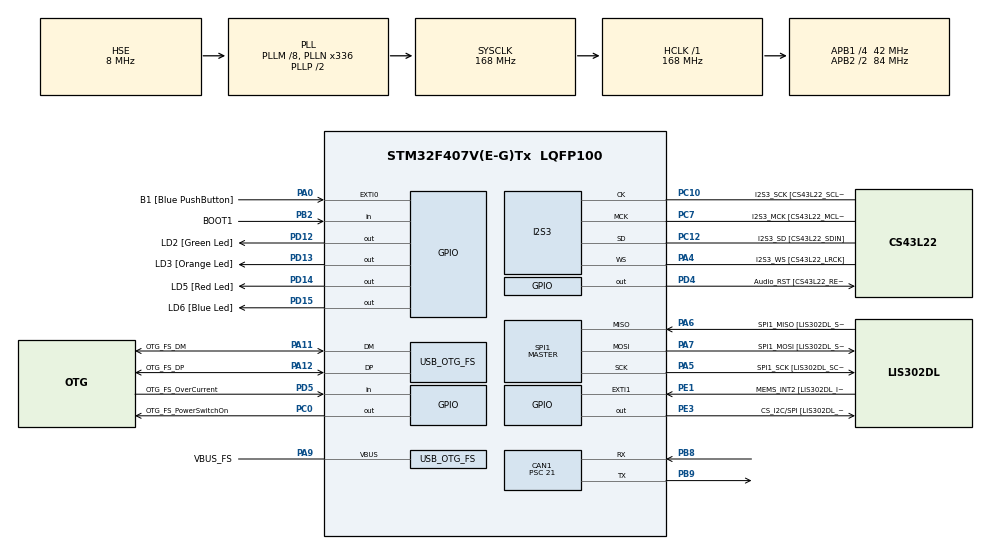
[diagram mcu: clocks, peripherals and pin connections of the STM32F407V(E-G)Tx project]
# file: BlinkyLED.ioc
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CAN1.BS1=CAN_BS1_12TQ
CAN1.BS2=CAN_BS2_3TQ
CAN1.CalculateBaudRate=125000
CAN1.CalculateTimeBit=8000
CAN1.CalculateTimeQuantum=500.0
CAN1.Prescaler=21
I2S3.AudioFreq-Half_Duplex_Master=I2S_AUDIOFREQ_96K
I2S3.ErrorAudioFreq=-2.34 %
I2S3.ErrorAudioFreq-Half_Duplex_Master=0.8 %
I2S3.FullDuplexMode=I2S_FULLDUPLEXMODE_DISABLE
I2S3.Instance=SPI$Index
I2S3.RealAudioFreq=93.75 KHz
I2S3.RealAudioFreq-Half_Duplex_Master=96.774 KHz
I2S3.VirtualMode=I2S_MODE_MASTER
Mcu.Family=STM32F4
Mcu.Name=STM32F407V(E-G)Tx
Mcu.Package=LQFP100
NVIC.OTG_FS_IRQn=true\:0\:0\:false\:false\:true\:true\:true\:true
NVIC.PriorityGroup=NVIC_PRIORITYGROUP_0
PA0-WKUP.GPIO_Label=B1 [Blue PushButton]
PA0-WKUP.GPIO_ModeDefaultEXTI=GPIO_MODE_EVT_RISING
PA0-WKUP.GPIO_PuPd=GPIO_NOPULL
PA0-WKUP.Signal=GPXTI0
PA10.GPIO_Label=OTG_FS_ID
PA10.GPIO_Mode=GPIO_MODE_AF_PP
PA10.GPIO_PuPd=GPIO_NOPULL
PA10.GPIO_Speed=GPIO_SPEED_FREQ_LOW
PA10.Signal=USB_OTG_FS_ID
PA11.GPIO_Label=OTG_FS_DM
PA11.GPIO_Mode=GPIO_MODE_AF_PP
PA11.GPIO_PuPd=GPIO_NOPULL
PA11.GPIO_Speed=GPIO_SPEED_FREQ_LOW
PA11.Mode=Host_Only
PA11.Signal=USB_OTG_FS_DM
PA12.GPIO_Label=OTG_FS_DP
PA12.GPIO_Mode=GPIO_MODE_AF_PP
PA12.GPIO_PuPd=GPIO_NOPULL
PA12.GPIO_Speed=GPIO_SPEED_FREQ_LOW
PA12.Mode=Host_Only
PA12.Signal=USB_OTG_FS_DP
PA13.GPIO_Label=SWDIO
PA13.Mode=Serial_Wire
PA13.Signal=SYS_JTMS-SWDIO
PA14.GPIO_Label=SWCLK
PA14.Mode=Serial_Wire
PA14.Signal=SYS_JTCK-SWCLK
PA4.GPIO_Label=I2S3_WS [CS43L22_LRCK]
PA4.GPIO_Mode=GPIO_MODE_AF_PP
PA4.GPIO_PuPd=GPIO_NOPULL
PA4.GPIO_Speed=GPIO_SPEED_FREQ_LOW
PA4.Mode=Half_Duplex_Master
PA4.Signal=I2S3_WS
PA5.GPIO_Label=SPI1_SCK [LIS302DL_SCL/SPC]
PA5.GPIO_Mode=GPIO_MODE_AF_PP
PA5.GPIO_PuPd=GPIO_NOPULL
PA5.GPIO_Speed=GPIO_SPEED_FREQ_LOW
PA5.Mode=Full_Duplex_Master
PA5.Signal=SPI1_SCK
PA6.GPIO_Label=SPI1_MISO [LIS302DL_SDO]
PA6.GPIO_Mode=GPIO_MODE_AF_PP
PA6.GPIO_PuPd=GPIO_NOPULL
PA6.GPIO_Speed=GPIO_SPEED_FREQ_LOW
PA6.Mode=Full_Duplex_Master
PA6.Signal=SPI1_MISO
PA7.GPIO_Label=SPI1_MOSI [LIS302DL_SDA/SDI/SDO]
PA7.GPIO_Mode=GPIO_MODE_AF_PP
PA7.GPIO_PuPd=GPIO_NOPULL
PA7.GPIO_Speed=GPIO_SPEED_FREQ_LOW
PA7.Mode=Full_Duplex_Master
PA7.Signal=SPI1_MOSI
PA9.GPIO_Label=VBUS_FS
PA9.GPIO_Mode=GPIO_MODE_INPUT
PA9.GPIO_PuPd=GPIO_NOPULL
PA9.Mode=Activate_VBUS
PA9.Signal=USB_OTG_FS_VBUS
PB10.GPIO_Label=CLK_IN [MP45DT02_CLK]
PB10.GPIO_Mode=GPIO_MODE_AF_PP
PB10.GPIO_PuPd=GPIO_NOPULL
PB10.GPIO_Speed=GPIO_SPEED_FREQ_LOW
PB10.Signal=I2S2_CK
PB2.GPIO_Label=BOOT1
PB2.GPIO_Mode=GPIO_MODE_INPUT
PB2.GPIO_PuPd=GPIO_NOPULL
PB2.Signal=GPIO_Input
PB3.GPIO_Label=SWO
PB3.Signal=SYS_JTDO-SWO
PB6.GPIO_Label=Audio_SCL [CS43L22_SCL]
PB6.GPIO_Mode=GPIO_MODE_AF_OD
PB6.GPIO_Pu=GPIO_PULLUP
PB6.GPIO_PuPd=GPIO_NOPULL
PB6.GPIO_Speed=GPIO_SPEED_FREQ_LOW
PB6.Signal=I2C1_SCL
PB8.Mode=CAN_Activate
PB8.Signal=CAN1_RX
PB9.Mode=CAN_Activate
PB9.Signal=CAN1_TX
PC0.GPIO_Label=OTG_FS_PowerSwitchOn
PC0.GPIO_PuPd=GPIO_NOPULL
PC0.GPIO_Speed=GPIO_SPEED_FREQ_LOW
PC0.PinState=GPIO_PIN_SET
PC0.Signal=GPIO_Output
PC10.GPIO_Label=I2S3_SCK [CS43L22_SCLK]
PC10.GPIO_Mode=GPIO_MODE_AF_PP
PC10.GPIO_PuPd=GPIO_NOPULL
PC10.GPIO_Speed=GPIO_SPEED_FREQ_LOW
PC10.Mode=Half_Duplex_Master
PC10.Signal=I2S3_CK
PC12.GPIO_Label=I2S3_SD [CS43L22_SDIN]
PC12.GPIO_Mode=GPIO_MODE_AF_PP
PC12.GPIO_PuPd=GPIO_NOPULL
PC12.GPIO_Speed=GPIO_SPEED_FREQ_LOW
PC12.Mode=Half_Duplex_Master
PC12.Signal=I2S3_SD
PC14-OSC32_IN.GPIO_Label=PC14-OSC32_IN
PC14-OSC32_IN.Mode=LSE-External-Oscillator
PC14-OSC32_IN.Signal=RCC_OSC32_IN
PC15-OSC32_OUT.GPIO_Label=PC15-OSC32_OUT
PC15-OSC32_OUT.Mode=LSE-External-Oscillator
PC15-OSC32_OUT.Signal=RCC_OSC32_OUT
PC3.GPIO_Label=PDM_OUT [MP45DT02_DOUT]
PC3.GPIO_Mode=GPIO_MODE_AF_PP
PC3.GPIO_PuPd=GPIO_NOPULL
PC3.GPIO_Speed=GPIO_SPEED_FREQ_LOW
PC3.Signal=I2S2_SD
PC7.GPIO_Label=I2S3_MCK [CS43L22_MCLK]
PC7.GPIO_Mode=GPIO_MODE_AF_PP
PC7.GPIO_PuPd=GPIO_NOPULL
PC7.GPIO_Speed=GPIO_SPEED_FREQ_LOW
PC7.Mode=Master_Clock_Activated
PC7.Signal=I2S3_MCK
PD12.GPIO_Label=LD2 [Green Led]
PD12.Signal=GPIO_Output
PD13.GPIO_Label=LD3 [Orange Led]
PD13.GPIO_PuPd=GPIO_NOPULL
PD13.GPIO_Speed=GPIO_SPEED_FREQ_LOW
PD13.Signal=GPIO_Output
PD14.GPIO_Label=LD5 [Red Led]
PD14.GPIO_PuPd=GPIO_NOPULL
PD14.GPIO_Speed=GPIO_SPEED_FREQ_LOW
PD14.Signal=GPIO_Output
PD15.GPIO_Label=LD6 [Blue Led]
PD15.GPIO_PuPd=GPIO_NOPULL
PD15.GPIO_Speed=GPIO_SPEED_FREQ_LOW
PD15.Signal=GPIO_Output
PD4.GPIO_Label=Audio_RST [CS43L22_RESET]
PD4.GPIO_PuPd=GPIO_NOPULL
PD4.GPIO_Speed=GPIO_SPEED_FREQ_LOW
PD4.Signal=GPIO_Output
PD5.GPIO_Label=OTG_FS_OverCurrent
PD5.GPIO_Mode=GPIO_MODE_INPUT
PD5.GPIO_PuPd=GPIO_NOPULL
PD5.Signal=GPIO_Input
PE1.GPIO_Label=MEMS_INT2 [LIS302DL_INT2]
PE1.GPIO_ModeDefaultEXTI=GPIO_MODE_EVT_RISING
PE1.GPIO_PuPd=GPIO_NOPULL
PE1.Signal=GPXTI1
PE3.GPIO_Label=CS_I2C/SPI [LIS302DL_CS_I2C/SPI]
PE3.GPIO_PuPd=GPIO_NOPULL
PE3.GPIO_Speed=GPIO_SPEED_FREQ_LOW
PE3.Signal=GPIO_Output
PH0-OSC_IN.GPIO_Label=PH0-OSC_IN
PH0-OSC_IN.Mode=HSE-External-Oscillator
PH0-OSC_IN.Signal=RCC_OSC_IN
PH1-OSC_OUT.GPIO_Label=PH1-OSC_OUT
PH1-OSC_OUT.Mode=HSE-External-Oscillator
PH1-OSC_OUT.Signal=RCC_OSC_OUT
ProjectManager.HeapSize=0x200
ProjectManager.StackSize=0x400
ProjectManager.TargetToolchain=STM32CubeIDE
RCC.48MHZClocksFreq_Value=48000000
RCC.AHBFreq_Value=168000000
RCC.APB1CLKDivider=RCC_HCLK_DIV4
RCC.APB1Freq_Value=42000000
RCC.APB1TimFreq_Value=84000000
RCC.APB2CLKDivider=RCC_HCLK_DIV2
RCC.APB2Freq_Value=84000000
RCC.APB2TimFreq_Value=168000000
RCC.CortexFreq_Value=168000000
RCC.HCLKFreq_Value=168000000
RCC.HSE_VALUE=8000000
RCC.HSI_VALUE=16000000
RCC.PLLM=8
RCC.PLLN=336
RCC.PLLQ=7
RCC.SYSCLKFreq_VALUE=168000000
RCC.SYSCLKSource=RCC_SYSCLKSOURCE_PLLCLK
RCC.VCOOutputFreq_Value=336000000
SPI1.BaudRatePrescaler-Full_Duplex_Master=SPI_BAUDRATEPRESCALER_2
SPI1.CalculateBaudRate-Full_Duplex_Master=42.0 MBits/s
SPI1.Direction=SPI_DIRECTION_2LINES
SPI1.Mode=SPI_MODE_MASTER
SPI1.Mode-Full_Duplex_Master=SPI_MODE_MASTER
SPI1.VirtualType=VM_MASTER
USB_HOST.BSP.number=1
USB_HOST.USBH_HandleTypeDef-CDC_FS=hUsbHostFS
USB_HOST.VirtualModeFS=Cdc
USB_HOST0.BSP.STBoard=false
USB_HOST0.BSP.api=Unknown
USB_HOST0.BSP.instance=PC0
USB_HOST0.BSP.ip=GPIO
USB_HOST0.BSP.mode=Output
USB_HOST0.BSP.name=Drive_VBUS_FS
USB_HOST0.BSP.solution=PC0
USB_OTG_FS.VirtualMode=Host_Only
USB_OTG_FS.phy_itface=HCD_PHY_EMBEDDED
VP_USB_HOST_VS_USB_HOST_CDC_FS.Mode=CDC_FS
board=STM32F407G-DISC1

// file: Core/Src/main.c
/* USER CODE BEGIN Header */
/**
  ******************************************************************************
  * @file           : main.c
  * @brief          : Main program body
  ******************************************************************************
  * @attention
  *
  * Copyright (c) 2025 STMicroelectronics.
  * All rights reserved.
  *
  * This software is licensed under terms that can be found in the LICENSE file
  * in the root directory of this software component.
  * If no LICENSE file comes with this software, it is provided AS-IS.
  *
  ******************************************************************************
  */
/* USER CODE END Header */
#include "main.h"
#include "usb_host.h"

CAN_HandleTypeDef hcan1;

I2S_HandleTypeDef hi2s3;

SPI_HandleTypeDef hspi1;

/* USER CODE BEGIN PV */
CAN_TxHeaderTypeDef   TxHeader;
uint8_t               TxData[2];
uint32_t              TxMailbox;
/* USER CODE END PV */

void SystemClock_Config(void);
static void MX_GPIO_Init(void);
static void MX_I2S3_Init(void);
static void MX_SPI1_Init(void);
static void MX_CAN1_Init(void);
void MX_USB_HOST_Process(void);

int main(void)
{

  /* MCU Configuration--------------------------------------------------------*/

  /* Reset of all peripherals, Initializes the Flash interface and the Systick. */
  HAL_Init();

  /* Configure the system clock */
  SystemClock_Config();

  /* Initialize all configured peripherals */
  MX_GPIO_Init();
  MX_I2S3_Init();
  MX_SPI1_Init();
  MX_USB_HOST_Init();
  MX_CAN1_Init();
  /* USER CODE BEGIN 2 */
  // Konfigurasi Header Pesan CAN
  TxHeader.StdId = 0x401; // ID Pesan CAN (pilih angka apa saja)
  TxHeader.ExtId = 0;
  TxHeader.RTR = CAN_RTR_DATA;
  TxHeader.IDE = CAN_ID_STD;
  TxHeader.DLC = 2; // Jumlah data yang dikirim (dalam byte)
  TxHeader.TransmitGlobalTime = DISABLE;

  // Data yang akan dikirim
  TxData[0] = 0xCA;
  TxData[1] = 0xFE;

  // Mulai periferal CAN
  if (HAL_CAN_Start(&hcan1) != HAL_OK)
  {
    /* Start Error */
    Error_Handler();
  }
  /* USER CODE END 2 */

  /* Infinite loop */
  while (1)
  {
    MX_USB_HOST_Process();

    /* USER CODE BEGIN 3 */
    // Periksa apakah tombol biru (B1, terhubung ke PA0) sedang ditekan
    if (HAL_GPIO_ReadPin(GPIOA, GPIO_PIN_0) == GPIO_PIN_RESET) // Tombol ditekan = pin LOW (RESET)
    {
      // Kirim pesan CAN
      if (HAL_CAN_AddTxMessage(&hcan1, &TxHeader, TxData, &TxMailbox) == HAL_OK)
      {
        // Jika berhasil, kedipkan LED oranye sebagai feedback
        HAL_GPIO_TogglePin(GPIOD, GPIO_PIN_13); // LD3 Orange LED
      }

      // Tahan di sini selama tombol masih ditekan untuk mencegah spam
      while (HAL_GPIO_ReadPin(GPIOA, GPIO_PIN_0) == GPIO_PIN_RESET) {}
    }
  }
  /* USER CODE END 3 */
}

void SystemClock_Config(void)
{
  RCC_OscInitTypeDef RCC_OscInitStruct = {0};
  RCC_ClkInitTypeDef RCC_ClkInitStruct = {0};

  /** Configure the main internal regulator output voltage
  */
  __HAL_RCC_PWR_CLK_ENABLE();
  __HAL_PWR_VOLTAGESCALING_CONFIG(PWR_REGULATOR_VOLTAGE_SCALE1);

  /** Initializes the RCC Oscillators according to the specified parameters
  * in the RCC_OscInitTypeDef structure.
  */
  RCC_OscInitStruct.OscillatorType = RCC_OSCILLATORTYPE_HSE;
  RCC_OscInitStruct.HSEState = RCC_HSE_ON;
  RCC_OscInitStruct.PLL.PLLState = RCC_PLL_ON;
  RCC_OscInitStruct.PLL.PLLSource = RCC_PLLSOURCE_HSE;
  RCC_OscInitStruct.PLL.PLLM = 8;
  RCC_OscInitStruct.PLL.PLLN = 336;
  RCC_OscInitStruct.PLL.PLLP = RCC_PLLP_DIV2;
  RCC_OscInitStruct.PLL.PLLQ = 7;
  if (HAL_RCC_OscConfig(&RCC_OscInitStruct) != HAL_OK)
  {
    Error_Handler();
  }

  /** Initializes the CPU, AHB and APB buses clocks
  */
  RCC_ClkInitStruct.ClockType = RCC_CLOCKTYPE_HCLK|RCC_CLOCKTYPE_SYSCLK
                              |RCC_CLOCKTYPE_PCLK1|RCC_CLOCKTYPE_PCLK2;
  RCC_ClkInitStruct.SYSCLKSource = RCC_SYSCLKSOURCE_PLLCLK;
  RCC_ClkInitStruct.AHBCLKDivider = RCC_SYSCLK_DIV1;
  RCC_ClkInitStruct.APB1CLKDivider = RCC_HCLK_DIV4;
  RCC_ClkInitStruct.APB2CLKDivider = RCC_HCLK_DIV2;

  if (HAL_RCC_ClockConfig(&RCC_ClkInitStruct, FLASH_LATENCY_5) != HAL_OK)
  {
    Error_Handler();
  }
}

static void MX_CAN1_Init(void)
{

  hcan1.Instance = CAN1;
  hcan1.Init.Prescaler = 21;
  hcan1.Init.Mode = CAN_MODE_NORMAL;
  hcan1.Init.SyncJumpWidth = CAN_SJW_1TQ;
  hcan1.Init.TimeSeg1 = CAN_BS1_12TQ;
  hcan1.Init.TimeSeg2 = CAN_BS2_3TQ;
  hcan1.Init.TimeTriggeredMode = DISABLE;
  hcan1.Init.AutoBusOff = DISABLE;
  hcan1.Init.AutoWakeUp = DISABLE;
  hcan1.Init.AutoRetransmission = DISABLE;
  hcan1.Init.ReceiveFifoLocked = DISABLE;
  hcan1.Init.TransmitFifoPriority = DISABLE;
  if (HAL_CAN_Init(&hcan1) != HAL_OK)
  {
    Error_Handler();
  }

}

static void MX_I2S3_Init(void)
{

  hi2s3.Instance = SPI3;
  hi2s3.Init.Mode = I2S_MODE_MASTER_TX;
  hi2s3.Init.Standard = I2S_STANDARD_PHILIPS;
  hi2s3.Init.DataFormat = I2S_DATAFORMAT_16B;
  hi2s3.Init.MCLKOutput = I2S_MCLKOUTPUT_ENABLE;
  hi2s3.Init.AudioFreq = I2S_AUDIOFREQ_96K;
  hi2s3.Init.CPOL = I2S_CPOL_LOW;
  hi2s3.Init.ClockSource = I2S_CLOCK_PLL;
  hi2s3.Init.FullDuplexMode = I2S_FULLDUPLEXMODE_DISABLE;
  if (HAL_I2S_Init(&hi2s3) != HAL_OK)
  {
    Error_Handler();
  }

}

static void MX_SPI1_Init(void)
{

  /* SPI1 parameter configuration*/
  hspi1.Instance = SPI1;
  hspi1.Init.Mode = SPI_MODE_MASTER;
  hspi1.Init.Direction = SPI_DIRECTION_2LINES;
  hspi1.Init.DataSize = SPI_DATASIZE_8BIT;
  hspi1.Init.CLKPolarity = SPI_POLARITY_LOW;
  hspi1.Init.CLKPhase = SPI_PHASE_1EDGE;
  hspi1.Init.NSS = SPI_NSS_SOFT;
  hspi1.Init.BaudRatePrescaler = SPI_BAUDRATEPRESCALER_2;
  hspi1.Init.FirstBit = SPI_FIRSTBIT_MSB;
  hspi1.Init.TIMode = SPI_TIMODE_DISABLE;
  hspi1.Init.CRCCalculation = SPI_CRCCALCULATION_DISABLE;
  hspi1.Init.CRCPolynomial = 10;
  if (HAL_SPI_Init(&hspi1) != HAL_OK)
  {
    Error_Handler();
  }

}

static void MX_GPIO_Init(void)
{
  GPIO_InitTypeDef GPIO_InitStruct = {0};

  /* GPIO Ports Clock Enable */
  __HAL_RCC_GPIOE_CLK_ENABLE();
  __HAL_RCC_GPIOC_CLK_ENABLE();
  __HAL_RCC_GPIOH_CLK_ENABLE();
  __HAL_RCC_GPIOA_CLK_ENABLE();
  __HAL_RCC_GPIOB_CLK_ENABLE();
  __HAL_RCC_GPIOD_CLK_ENABLE();

  /*Configure GPIO pin Output Level */
  HAL_GPIO_WritePin(CS_I2C_SPI_GPIO_Port, CS_I2C_SPI_Pin, GPIO_PIN_RESET);

  /*Configure GPIO pin Output Level */
  HAL_GPIO_WritePin(OTG_FS_PowerSwitchOn_GPIO_Port, OTG_FS_PowerSwitchOn_Pin, GPIO_PIN_SET);

  /*Configure GPIO pin Output Level */
  HAL_GPIO_WritePin(GPIOD, LD2_Pin|LD3_Pin|LD5_Pin|LD6_Pin
                          |Audio_RST_Pin, GPIO_PIN_RESET);

  /*Configure GPIO pin : CS_I2C_SPI_Pin */
  GPIO_InitStruct.Pin = CS_I2C_SPI_Pin;
  GPIO_InitStruct.Mode = GPIO_MODE_OUTPUT_PP;
  GPIO_InitStruct.Pull = GPIO_NOPULL;
  GPIO_InitStruct.Speed = GPIO_SPEED_FREQ_LOW;
  HAL_GPIO_Init(CS_I2C_SPI_GPIO_Port, &GPIO_InitStruct);

  /*Configure GPIO pin : OTG_FS_PowerSwitchOn_Pin */
  GPIO_InitStruct.Pin = OTG_FS_PowerSwitchOn_Pin;
  GPIO_InitStruct.Mode = GPIO_MODE_OUTPUT_PP;
  GPIO_InitStruct.Pull = GPIO_NOPULL;
  GPIO_InitStruct.Speed = GPIO_SPEED_FREQ_LOW;
  HAL_GPIO_Init(OTG_FS_PowerSwitchOn_GPIO_Port, &GPIO_InitStruct);

  /*Configure GPIO pin : PDM_OUT_Pin */
  GPIO_InitStruct.Pin = PDM_OUT_Pin;
  GPIO_InitStruct.Mode = GPIO_MODE_AF_PP;
  GPIO_InitStruct.Pull = GPIO_NOPULL;
  GPIO_InitStruct.Speed = GPIO_SPEED_FREQ_LOW;
  GPIO_InitStruct.Alternate = GPIO_AF5_SPI2;
  HAL_GPIO_Init(PDM_OUT_GPIO_Port, &GPIO_InitStruct);

  /*Configure GPIO pin : B1_Pin */
  GPIO_InitStruct.Pin = B1_Pin;
  GPIO_InitStruct.Mode = GPIO_MODE_EVT_RISING;
  GPIO_InitStruct.Pull = GPIO_NOPULL;
  HAL_GPIO_Init(B1_GPIO_Port, &GPIO_InitStruct);

  /*Configure GPIO pin : BOOT1_Pin */
  GPIO_InitStruct.Pin = BOOT1_Pin;
  GPIO_InitStruct.Mode = GPIO_MODE_INPUT;
  GPIO_InitStruct.Pull = GPIO_NOPULL;
  HAL_GPIO_Init(BOOT1_GPIO_Port, &GPIO_InitStruct);

  /*Configure GPIO pin : CLK_IN_Pin */
  GPIO_InitStruct.Pin = CLK_IN_Pin;
  GPIO_InitStruct.Mode = GPIO_MODE_AF_PP;
  GPIO_InitStruct.Pull = GPIO_NOPULL;
  GPIO_InitStruct.Speed = GPIO_SPEED_FREQ_LOW;
  GPIO_InitStruct.Alternate = GPIO_AF5_SPI2;
  HAL_GPIO_Init(CLK_IN_GPIO_Port, &GPIO_InitStruct);

  /*Configure GPIO pins : LD2_Pin LD3_Pin LD5_Pin LD6_Pin
                           Audio_RST_Pin */
  GPIO_InitStruct.Pin = LD2_Pin|LD3_Pin|LD5_Pin|LD6_Pin
                          |Audio_RST_Pin;
  GPIO_InitStruct.Mode = GPIO_MODE_OUTPUT_PP;
  GPIO_InitStruct.Pull = GPIO_NOPULL;
  GPIO_InitStruct.Speed = GPIO_SPEED_FREQ_LOW;
  HAL_GPIO_Init(GPIOD, &GPIO_InitStruct);

  /*Configure GPIO pin : OTG_FS_OverCurrent_Pin */
  GPIO_InitStruct.Pin = OTG_FS_OverCurrent_Pin;
  GPIO_InitStruct.Mode = GPIO_MODE_INPUT;
  GPIO_InitStruct.Pull = GPIO_NOPULL;
  HAL_GPIO_Init(OTG_FS_OverCurrent_GPIO_Port, &GPIO_InitStruct);

  /*Configure GPIO pin : Audio_SCL_Pin */
  GPIO_InitStruct.Pin = Audio_SCL_Pin;
  GPIO_InitStruct.Mode = GPIO_MODE_AF_OD;
  GPIO_InitStruct.Pull = GPIO_PULLUP;
  GPIO_InitStruct.Speed = GPIO_SPEED_FREQ_LOW;
  GPIO_InitStruct.Alternate = GPIO_AF4_I2C1;
  HAL_GPIO_Init(Audio_SCL_GPIO_Port, &GPIO_InitStruct);

  /*Configure GPIO pin : MEMS_INT2_Pin */
  GPIO_InitStruct.Pin = MEMS_INT2_Pin;
  GPIO_InitStruct.Mode = GPIO_MODE_EVT_RISING;
  GPIO_InitStruct.Pull = GPIO_NOPULL;
  HAL_GPIO_Init(MEMS_INT2_GPIO_Port, &GPIO_InitStruct);

}

void Error_Handler(void)
{
  __disable_irq();
  while (1)
  {
  }
}
